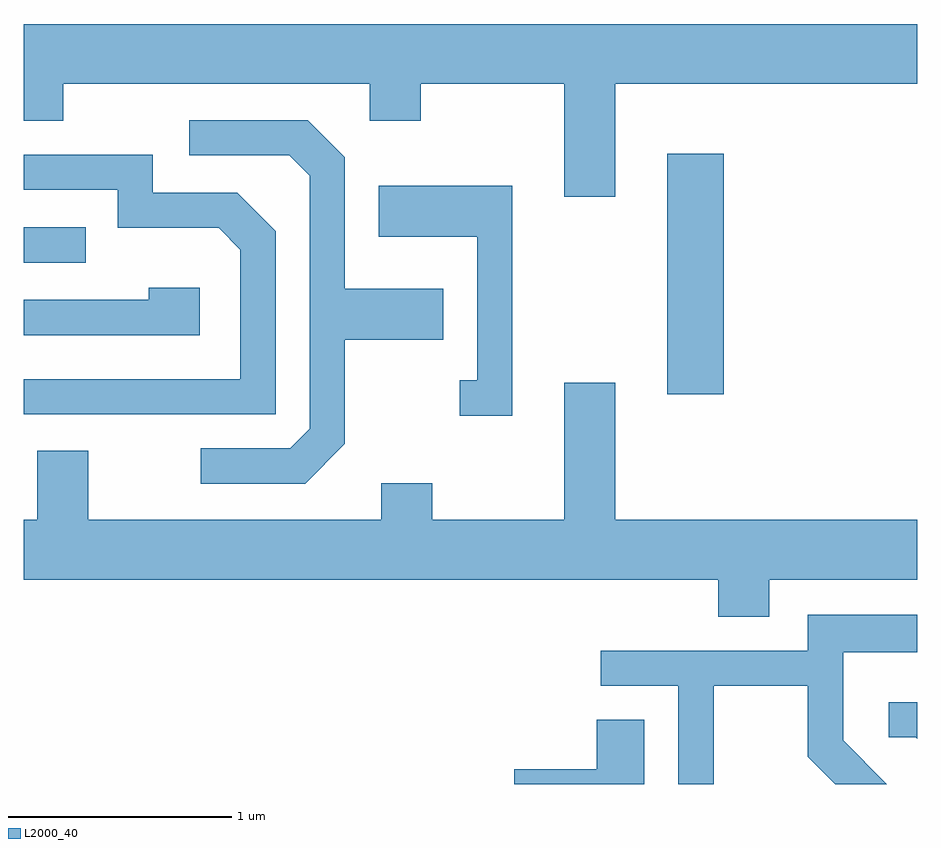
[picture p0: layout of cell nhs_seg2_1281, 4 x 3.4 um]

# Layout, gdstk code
import gdstk
lib = gdstk.Library(unit=1e-6, precision=1e-09)
def R(c, l, rs):  # rectangles x0, y0, x1, y1
    for r in rs: c.add(gdstk.rectangle(r[:2], r[2:], *l))
def P(c, l, *ps):  # polygons
    for p in ps: c.add(gdstk.Polygon(p, *l))
L2000_40 = (2000, 40)

nhs_seg2_1281 = lib.new_cell('nhs_seg2_1281')
R(nhs_seg2_1281, L2000_40, [(224.491,1093.546,224.744,1094.624), (221.611,1094.136,221.888,1094.294)])
P(nhs_seg2_1281, L2000_40, [(224.259,1094.936),(225.611,1094.936),(225.611,1095.204),(221.611,1095.204),(221.611,1094.771),(221.789,1094.771),(221.789,1094.936),(223.161,1094.936),(223.161,1094.771),(223.389,1094.771),(223.389,1094.936),(224.031,1094.936),(224.031,1094.431),(224.259,1094.431)],
  [(223.049,1093.324),(223.049,1093.791),(223.489,1093.791),(223.489,1094.019),(223.049,1094.019),(223.049,1094.607),(222.882,1094.774),(222.353,1094.774),(222.353,1094.616),(222.799,1094.616),(222.891,1094.524),(222.891,1093.392),(222.804,1093.304),(222.403,1093.304),(222.403,1093.146),(222.872,1093.146)],
  [(222.739,1094.277),(222.567,1094.449),(222.189,1094.449),(222.189,1094.619),(221.611,1094.619),(221.611,1094.461),(222.031,1094.461),(222.031,1094.291),(222.484,1094.291),(222.581,1094.194),(222.581,1093.614),(221.611,1093.614),(221.611,1093.456),(222.739,1093.456)],
  [(223.799,1094.479),(223.201,1094.479),(223.201,1094.251),(223.641,1094.251),(223.641,1093.609),(223.563,1093.609),(223.563,1093.451),(223.799,1093.451)],
  [(222.399,1094.024),(222.171,1094.024),(222.171,1093.969),(221.611,1093.969),(221.611,1093.811),(222.399,1093.811)],
  [(224.949,1092.716),(225.611,1092.716),(225.611,1092.984),(224.259,1092.984),(224.259,1093.599),(224.031,1093.599),(224.031,1092.984),(223.439,1092.984),(223.439,1093.149),(223.211,1093.149),(223.211,1092.984),(221.899,1092.984),(221.899,1093.294),(221.671,1093.294),(221.671,1092.984),(221.611,1092.984),(221.611,1092.716),(224.721,1092.716),(224.721,1092.551),(224.949,1092.551)],
  [(224.699,1092.241),(225.121,1092.241),(225.121,1091.924),(225.243,1091.802),(225.474,1091.802),(225.279,1091.997),(225.279,1092.391),(225.611,1092.391),(225.611,1092.559),(225.121,1092.559),(225.121,1092.399),(224.193,1092.399),(224.193,1092.241),(224.541,1092.241),(224.541,1091.802),(224.699,1091.802)],
  [(225.611,1092.169),(225.483,1092.169),(225.483,1092.011),(225.604,1092.011),(225.611,1092.004)],
  [(224.389,1092.089),(224.176,1092.089),(224.176,1091.869),(223.806,1091.869),(223.806,1091.802),(224.389,1091.802)])

lib.write_gds('nhs_seg2_1281.gds')
